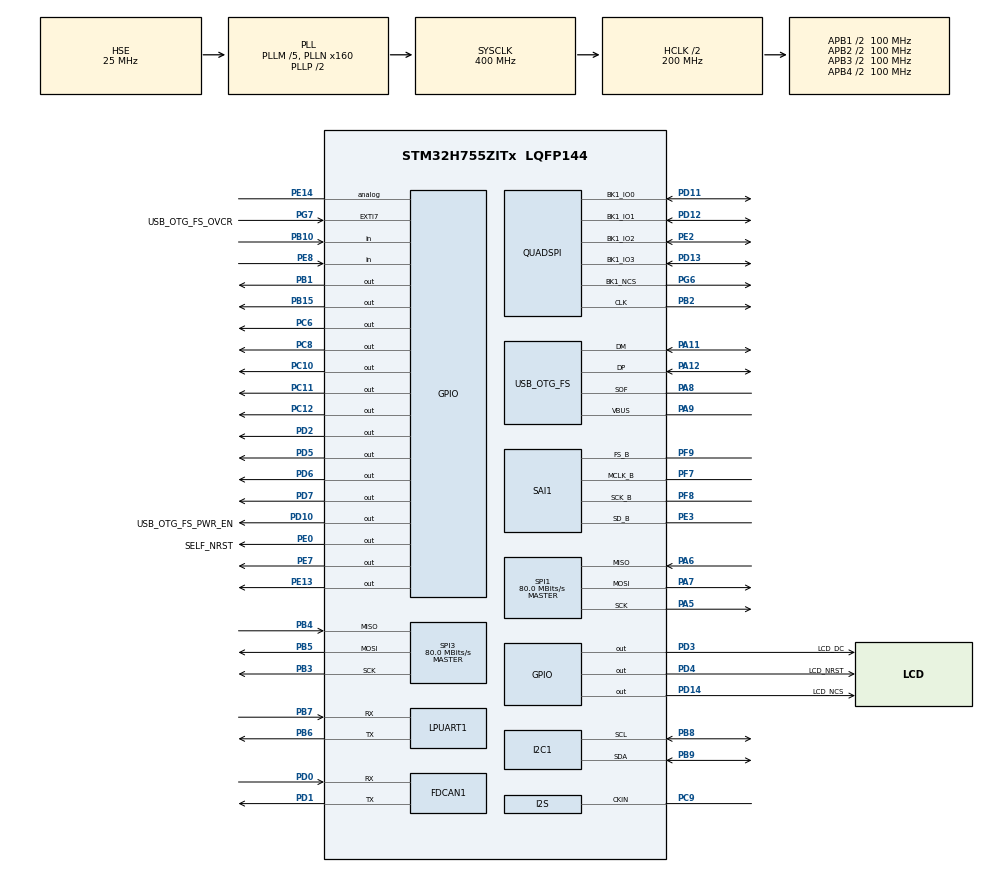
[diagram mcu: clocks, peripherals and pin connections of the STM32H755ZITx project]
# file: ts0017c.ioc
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CortexM4.IPs=FATFS_M4\:I,FREERTOS_M4\:I,IWDG2\:I,RCC,WWDG2\:I,DMA,BDMA,MDMA,NVIC2\:I,USART3,DEBUG,PDM2PCM_M4\:I,PWR,RESMGR_UTILITY,SYS_M4\:I,USB_DEVICE_M4\:I,USB_HOST_M4\:I,CORTEX_M4\:I,GPIO,OPENAMP_M4\:I,VREFBUF,NUCLEO-H755ZI-Q
CortexM7.IPs=FATFS_M7\:I,FREERTOS_M7\:I,IWDG1\:I,RCC\:I,WWDG1\:I,DMA\:I,BDMA\:I,MDMA\:I,NVIC1\:I,USART3\:I,USB_OTG_FS\:I,USB_OTG_FS1\:I,SYS\:I,CORTEX_M7\:I,DEBUG\:I,PDM2PCM_M7\:I,PWR\:I,RESMGR_UTILITY\:I,USB_DEVICE_M7\:I,USB_HOST_M7\:I,GPIO\:I,OPENAMP_M7\:I,VREFBUF\:I,NUCLEO-H755ZI-Q\:I,I2C1\:I,SPI1\:I,SPI3\:I,LPUART1\:I,QUADSPI\:I,SAI1\:I,FDCAN1\:I
CortexM7.Pins=PB1,PE7,PE8,PE13,PE14,PB10,PB15,PD10,PD14,PG7,PC6,PC8,PC10,PC11,PC12,PD2,PD3,PD4,PD5,PD6,PD7,PE0
Dma.Request0=SPI1_TX
Dma.SPI1_TX.0.Direction=DMA_MEMORY_TO_PERIPH
Dma.SPI1_TX.0.EventEnable=DISABLE
Dma.SPI1_TX.0.FIFOMode=DMA_FIFOMODE_DISABLE
Dma.SPI1_TX.0.Instance=DMA1_Stream0
Dma.SPI1_TX.0.MemDataAlignment=DMA_MDATAALIGN_BYTE
Dma.SPI1_TX.0.MemInc=DMA_MINC_ENABLE
Dma.SPI1_TX.0.Mode=DMA_NORMAL
Dma.SPI1_TX.0.PeriphDataAlignment=DMA_PDATAALIGN_BYTE
Dma.SPI1_TX.0.PeriphInc=DMA_PINC_DISABLE
Dma.SPI1_TX.0.Polarity=HAL_DMAMUX_REQ_GEN_RISING
Dma.SPI1_TX.0.Priority=DMA_PRIORITY_HIGH
Dma.SPI1_TX.0.RequestNumber=1
Dma.SPI1_TX.0.SignalID=NONE
Dma.SPI1_TX.0.SyncEnable=DISABLE
Dma.SPI1_TX.0.SyncPolarity=HAL_DMAMUX_SYNC_NO_EVENT
Dma.SPI1_TX.0.SyncRequestNumber=1
Dma.SPI1_TX.0.SyncSignalID=NONE
FDCAN1.CalculateBaudRateNominal=833333
FDCAN1.CalculateTimeBitNominal=1200
FDCAN1.CalculateTimeQuantumNominal=400.0
I2C1.Timing=0x10C0ECFF
Mcu.Family=STM32H7
Mcu.Name=STM32H755ZITx
Mcu.Package=LQFP144
NUCLEO-H755ZI-Q.BUTTON=1
NUCLEO-H755ZI-Q.LD1=true
NUCLEO-H755ZI-Q.LD2=true
NUCLEO-H755ZI-Q.LD3=true
NUCLEO-H755ZI-Q.VCP=true
NVIC1.DMA1_Stream0_IRQn=true\:0\:0\:false\:false\:true\:false\:true\:true
NVIC1.EXTI15_10_IRQn=true\:0\:0\:false\:false\:true\:false\:true\:true
NVIC1.PriorityGroup=NVIC_PRIORITYGROUP_4
NVIC1.SPI1_IRQn=true\:0\:0\:false\:false\:true\:false\:true\:true
NVIC2.PriorityGroup=NVIC_PRIORITYGROUP_4
PA11.Mode=Device_Only
PA11.PinAttribute=CortexM7
PA11.Signal=USB_OTG_FS_DM
PA12.Mode=Device_Only
PA12.PinAttribute=CortexM7
PA12.Signal=USB_OTG_FS_DP
PA13\ (JTMS/SWDIO).Mode=Serial_Wire
PA13\ (JTMS/SWDIO).PinAttribute=CortexM7
PA13\ (JTMS/SWDIO).Signal=DEBUG_JTMS-SWDIO
PA14\ (JTCK/SWCLK).Mode=Serial_Wire
PA14\ (JTCK/SWCLK).PinAttribute=CortexM7
PA14\ (JTCK/SWCLK).Signal=DEBUG_JTCK-SWCLK
PA5.GPIO_Speed=GPIO_SPEED_FREQ_VERY_HIGH
PA5.Mode=Full_Duplex_Master
PA5.PinAttribute=CortexM7
PA5.Signal=SPI1_SCK
PA6.GPIO_Speed=GPIO_SPEED_FREQ_VERY_HIGH
PA6.Mode=Full_Duplex_Master
PA6.PinAttribute=CortexM7
PA6.Signal=SPI1_MISO
PA7.GPIO_Speed=GPIO_SPEED_FREQ_VERY_HIGH
PA7.Mode=Full_Duplex_Master
PA7.PinAttribute=CortexM7
PA7.Signal=SPI1_MOSI
PA8.Mode=Activate_SOF_FS
PA8.PinAttribute=CortexM7
PA8.Signal=USB_OTG_FS_SOF
PA9.Mode=Activate_VBUS
PA9.PinAttribute=CortexM7
PA9.Signal=USB_OTG_FS_VBUS
PB1.PinAttribute=CortexM7
PB1.Signal=GPIO_Output
PB10.PinAttribute=CortexM7
PB10.Signal=GPIO_Input
PB13.PinAttribute=CortexM4
PB13.Signal=ETH_TXD1
PB15.PinAttribute=CortexM7
PB15.Signal=GPIO_Output
PB2.Mode=Single Bank 1
PB2.PinAttribute=CortexM7
PB2.Signal=QUADSPI_CLK
PB3\ (JTDO/TRACESWO).Mode=Full_Duplex_Master
PB3\ (JTDO/TRACESWO).PinAttribute=CortexM7
PB3\ (JTDO/TRACESWO).Signal=SPI3_SCK
PB4\ (NJTRST).Mode=Full_Duplex_Master
PB4\ (NJTRST).PinAttribute=CortexM7
PB4\ (NJTRST).Signal=SPI3_MISO
PB5.Mode=Full_Duplex_Master
PB5.PinAttribute=CortexM7
PB5.Signal=SPI3_MOSI
PB6.Mode=Asynchronous
PB6.PinAttribute=CortexM7
PB6.Signal=LPUART1_TX
PB7.Mode=Asynchronous
PB7.PinAttribute=CortexM7
PB7.Signal=LPUART1_RX
PB8.Mode=I2C
PB8.PinAttribute=CortexM7
PB8.Signal=I2C1_SCL
PB9.Mode=I2C
PB9.PinAttribute=CortexM7
PB9.Signal=I2C1_SDA
PC10.PinAttribute=CortexM7
PC10.Signal=GPIO_Output
PC11.PinAttribute=CortexM7
PC11.Signal=GPIO_Output
PC12.PinAttribute=CortexM7
PC12.Signal=GPIO_Output
PC14-OSC32_IN\ (OSC32_IN).Mode=LSE-External-Oscillator
PC14-OSC32_IN\ (OSC32_IN).PinAttribute=Free
PC14-OSC32_IN\ (OSC32_IN).Signal=RCC_OSC32_IN
PC15-OSC32_OUT\ (OSC32_OUT).Mode=LSE-External-Oscillator
PC15-OSC32_OUT\ (OSC32_OUT).PinAttribute=Free
PC15-OSC32_OUT\ (OSC32_OUT).Signal=RCC_OSC32_OUT
PC6.PinAttribute=CortexM7
PC6.Signal=GPIO_Output
PC8.PinAttribute=CortexM7
PC8.Signal=GPIO_Output
PC9.Mode=Audio_ClockIn
PC9.PinAttribute=Free
PC9.Signal=I2S_CKIN
PD0.Mode=FDCAN_Activate
PD0.PinAttribute=CortexM7
PD0.Signal=FDCAN1_RX
PD1.Mode=FDCAN_Activate
PD1.PinAttribute=CortexM7
PD1.Signal=FDCAN1_TX
PD10.GPIO_Label=USB_OTG_FS_PWR_EN
PD10.PinAttribute=CortexM7
PD10.Signal=GPIO_Output
PD11.Mode=Single Bank 1
PD11.PinAttribute=CortexM7
PD11.Signal=QUADSPI_BK1_IO0
PD12.Mode=Single Bank 1
PD12.PinAttribute=CortexM7
PD12.Signal=QUADSPI_BK1_IO1
PD13.Mode=Single Bank 1
PD13.PinAttribute=CortexM7
PD13.Signal=QUADSPI_BK1_IO3
PD14.GPIO_Label=LCD_NCS
PD14.GPIO_ModeDefaultOutputPP=GPIO_MODE_OUTPUT_PP
PD14.GPIO_PuPd=GPIO_NOPULL
PD14.GPIO_Speed=GPIO_SPEED_FREQ_HIGH
PD14.PinAttribute=CortexM7
PD14.PinState=GPIO_PIN_SET
PD14.Signal=GPIO_Output
PD2.PinAttribute=CortexM7
PD2.Signal=GPIO_Output
PD3.GPIO_Label=LCD_DC
PD3.GPIO_ModeDefaultOutputPP=GPIO_MODE_OUTPUT_PP
PD3.GPIO_Speed=GPIO_SPEED_FREQ_HIGH
PD3.PinAttribute=CortexM7
PD3.Signal=GPIO_Output
PD4.GPIO_Label=LCD_NRST
PD4.GPIO_ModeDefaultOutputPP=GPIO_MODE_OUTPUT_PP
PD4.GPIO_PuPd=GPIO_NOPULL
PD4.GPIO_Speed=GPIO_SPEED_FREQ_HIGH
PD4.PinAttribute=CortexM7
PD4.PinState=GPIO_PIN_SET
PD4.Signal=GPIO_Output
PD5.PinAttribute=CortexM7
PD5.Signal=GPIO_Output
PD6.PinAttribute=CortexM7
PD6.Signal=GPIO_Output
PD7.PinAttribute=CortexM7
PD7.Signal=GPIO_Output
PD8.Signal=USART3_TX
PD9.Signal=USART3_RX
PE0.GPIO_Label=SELF_NRST
PE0.GPIO_ModeDefaultOutputPP=GPIO_MODE_OUTPUT_OD
PE0.GPIO_PuPd=GPIO_NOPULL
PE0.PinAttribute=CortexM7
PE0.PinState=GPIO_PIN_SET
PE0.Signal=GPIO_Output
PE13.PinAttribute=CortexM7
PE13.Signal=GPIO_Output
PE14.PinAttribute=CortexM7
PE14.Signal=GPIO_Analog
PE2.Mode=Single Bank 1
PE2.PinAttribute=CortexM7
PE2.Signal=QUADSPI_BK1_IO2
PE3.Mode=SAI_B_MasterWithClock
PE3.PinAttribute=CortexM7
PE3.Signal=SAI1_SD_B
PE7.PinAttribute=CortexM7
PE7.Signal=GPIO_Output
PE8.PinAttribute=CortexM7
PE8.Signal=GPIO_Input
PF7.Mode=SAI_B_MasterWithClock
PF7.PinAttribute=CortexM7
PF7.Signal=SAI1_MCLK_B
PF8.Mode=SAI_B_MasterWithClock
PF8.PinAttribute=CortexM7
PF8.Signal=SAI1_SCK_B
PF9.Mode=SAI_B_MasterWithClock
PF9.PinAttribute=CortexM7
PF9.Signal=SAI1_FS_B
PG11.PinAttribute=CortexM4
PG11.Signal=ETH_TX_EN
PG13.PinAttribute=CortexM4
PG13.Signal=ETH_TXD0
PG6.Mode=Single Bank 1
PG6.PinAttribute=CortexM7
PG6.Signal=QUADSPI_BK1_NCS
PG7.GPIO_Label=USB_OTG_FS_OVCR
PG7.PinAttribute=CortexM7
PG7.Signal=GPXTI7
PH0-OSC_IN\ (PH0).Mode=HSE-External-Oscillator
PH0-OSC_IN\ (PH0).PinAttribute=Free
PH0-OSC_IN\ (PH0).Signal=RCC_OSC_IN
PH1-OSC_OUT\ (PH1).Mode=HSE-External-Oscillator
PH1-OSC_OUT\ (PH1).PinAttribute=Free
PH1-OSC_OUT\ (PH1).Signal=RCC_OSC_OUT
ProjectManager.HeapSize=M4-0x200,M7-0x200
ProjectManager.StackSize=M4-0x400,M7-0x400
ProjectManager.TargetToolchain=STM32CubeIDE
RCC.ADCFreq_Value=160000000
RCC.APB1Freq_Value=100000000
RCC.APB2Freq_Value=100000000
RCC.APB3Freq_Value=100000000
RCC.APB4Freq_Value=100000000
RCC.CortexFreq_Value=400000000
RCC.D1PPRE=RCC_APB3_DIV2
RCC.D2PPRE1=RCC_APB1_DIV2
RCC.D2PPRE2=RCC_APB2_DIV2
RCC.D3PPRE=RCC_APB4_DIV2
RCC.DIVM1=5
RCC.DIVM2=5
RCC.DIVM3=25
RCC.DIVN1=160
RCC.DIVN2=32
RCC.DIVN3=192
RCC.DIVP2=1
RCC.DIVP3=4
RCC.DIVQ1=20
RCC.DIVQ3=4
RCC.DIVR2=3
RCC.HCLKFreq_Value=200000000
RCC.HPRE=RCC_HCLK_DIV2
RCC.HSE_VALUE=25000000
RCC.PLL2FRACN=0
RCC.PLL3FRACN=0
RCC.PLLFRACN=0
RCC.QSPICLockSelection=RCC_QSPICLKSOURCE_PLL2
RCC.SAI1CLockSelection=RCC_SAI1CLKSOURCE_PIN
RCC.SPI123CLockSelection=RCC_SPI123CLKSOURCE_PLL2
RCC.SYSCLKFreq_VALUE=400000000
RCC.SYSCLKSource=RCC_SYSCLKSOURCE_PLLCLK
RCC.SupplySource=PWR_DIRECT_SMPS_SUPPLY
RCC.USBCLockSelection=RCC_USBCLKSOURCE_PLL3
RCC.USBFreq_Value=48000000
SAI1.ErrorAudioFreq-SAI_B_MasterWithClock=-75.0 %
SAI1.InitProtocol-SAI_B_MasterWithClock=Enable
SAI1.Instance-SAI_B_MasterWithClock=SAI$Index_Block_B
SAI1.MClockEnable-SAI_B_MasterWithClock=SAI_MASTERCLOCK_ENABLE
SAI1.RealAudioFreq-SAI_B_MasterWithClock=48.0 KHz
SAI1.VirtualMode-SAI_B_MasterWithClock=VM_MASTER
SAI1.VirtualProtocol-SAI_B_BASIC=VM_BASIC_PROTOCOL
SPI1.BaudRatePrescaler=SPI_BAUDRATEPRESCALER_2
SPI1.CalculateBaudRate=80.0 MBits/s
SPI1.DataSize=SPI_DATASIZE_8BIT
SPI1.Direction=SPI_DIRECTION_2LINES
SPI1.Mode=SPI_MODE_MASTER
SPI1.VirtualType=VM_MASTER
SPI3.CalculateBaudRate=80.0 MBits/s
SPI3.Direction=SPI_DIRECTION_2LINES
SPI3.Mode=SPI_MODE_MASTER
SPI3.VirtualType=VM_MASTER
USB_OTG_FS.VirtualMode=Device_Only
VP_NUCLEO-H755ZI-Q_VS_BSP_COMMON.Mode=COMMON
VP_SAI1_VP_$IpInstance_SAIB_SAI_BASIC.Mode=SAI_B_BASIC
VP_SYS_M4_VS_Systick.Mode=SysTick
board=NUCLEO-H755ZI-Q

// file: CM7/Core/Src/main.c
/* USER CODE BEGIN Header */
/**
  ******************************************************************************
  * @file           : main.c
  * @brief          : Main program body
  ******************************************************************************
  * @attention
  *
  * Copyright (c) 2026 STMicroelectronics.
  * All rights reserved.
  *
  * This software is licensed under terms that can be found in the LICENSE file
  * in the root directory of this software component.
  * If no LICENSE file comes with this software, it is provided AS-IS.
  *
  ******************************************************************************
  */
/* USER CODE END Header */
#include "main.h"

/* USER CODE BEGIN Includes */
#include "st7789.h"
/* USER CODE END Includes */

/* USER CODE BEGIN PD */

/* DUAL_CORE_BOOT_SYNC_SEQUENCE: Define for dual core boot synchronization    */
/*                             demonstration code based on hardware semaphore */
/* This define is present in both CM7/CM4 projects                            */
/* To comment when developping/debugging on a single core                     */
#define DUAL_CORE_BOOT_SYNC_SEQUENCE

#if defined(DUAL_CORE_BOOT_SYNC_SEQUENCE)
#ifndef HSEM_ID_0
#define HSEM_ID_0 (0U) /* HW semaphore 0*/
#endif
#endif /* DUAL_CORE_BOOT_SYNC_SEQUENCE */

/* USER CODE END PD */

COM_InitTypeDef BspCOMInit;

FDCAN_HandleTypeDef hfdcan1;

I2C_HandleTypeDef hi2c1;

UART_HandleTypeDef hlpuart1;

QSPI_HandleTypeDef hqspi;

SAI_HandleTypeDef hsai_BlockB1;

SPI_HandleTypeDef hspi1;
SPI_HandleTypeDef hspi3;
DMA_HandleTypeDef hdma_spi1_tx;

PCD_HandleTypeDef hpcd_USB_OTG_FS;

void SystemClock_Config(void);
void PeriphCommonClock_Config(void);
static void MX_GPIO_Init(void);
static void MX_DMA_Init(void);
static void MX_FDCAN1_Init(void);
static void MX_I2C1_Init(void);
static void MX_LPUART1_UART_Init(void);
static void MX_QUADSPI_Init(void);
static void MX_SAI1_Init(void);
static void MX_SPI1_Init(void);
static void MX_SPI3_Init(void);
static void MX_USB_OTG_FS_PCD_Init(void);

int main(void)
{

/* USER CODE BEGIN Boot_Mode_Sequence_0 */
#if defined(DUAL_CORE_BOOT_SYNC_SEQUENCE)
  int32_t timeout;
#endif /* DUAL_CORE_BOOT_SYNC_SEQUENCE */
/* USER CODE END Boot_Mode_Sequence_0 */

/* USER CODE BEGIN Boot_Mode_Sequence_1 */
#if defined(DUAL_CORE_BOOT_SYNC_SEQUENCE)
  /* Wait until CPU2 boots and enters in stop mode or timeout*/
  timeout = 0xFFFF;
  while((__HAL_RCC_GET_FLAG(RCC_FLAG_D2CKRDY) != RESET) && (timeout-- > 0));
  if ( timeout < 0 )
  {
  Error_Handler();
  }
#endif /* DUAL_CORE_BOOT_SYNC_SEQUENCE */
/* USER CODE END Boot_Mode_Sequence_1 */
  /* MCU Configuration--------------------------------------------------------*/

  /* Reset of all peripherals, Initializes the Flash interface and the Systick. */
  HAL_Init();

  /* Configure the system clock */
  SystemClock_Config();

  /* Configure the peripherals common clocks */
  PeriphCommonClock_Config();
/* USER CODE BEGIN Boot_Mode_Sequence_2 */
#if defined(DUAL_CORE_BOOT_SYNC_SEQUENCE)
/* When system initialization is finished, Cortex-M7 will release Cortex-M4 by means of
HSEM notification */
/*HW semaphore Clock enable*/
__HAL_RCC_HSEM_CLK_ENABLE();
/*Take HSEM */
HAL_HSEM_FastTake(HSEM_ID_0);
/*Release HSEM in order to notify the CPU2(CM4)*/
HAL_HSEM_Release(HSEM_ID_0,0);
/* wait until CPU2 wakes up from stop mode */
timeout = 0xFFFF;
while((__HAL_RCC_GET_FLAG(RCC_FLAG_D2CKRDY) == RESET) && (timeout-- > 0));
if ( timeout < 0 )
{
Error_Handler();
}
#endif /* DUAL_CORE_BOOT_SYNC_SEQUENCE */
/* USER CODE END Boot_Mode_Sequence_2 */

  /* Initialize all configured peripherals */
  MX_GPIO_Init();
  MX_DMA_Init();
  MX_FDCAN1_Init();
  MX_I2C1_Init();
  MX_LPUART1_UART_Init();
  MX_QUADSPI_Init();
  MX_SAI1_Init();
  MX_SPI1_Init();
  MX_SPI3_Init();
  MX_USB_OTG_FS_PCD_Init();
  /* USER CODE BEGIN 2 */

  GPIO_PinState pin = GPIO_PIN_SET;
  HAL_GPIO_WritePin(GPIOB, GPIO_PIN_0, pin);
  HAL_GPIO_WritePin(GPIOC, GPIO_PIN_10, pin);
  HAL_GPIO_WritePin(GPIOC, GPIO_PIN_11, pin);
  HAL_GPIO_WritePin(GPIOC, GPIO_PIN_12, pin);
  HAL_GPIO_WritePin(GPIOD, GPIO_PIN_2, pin);

  /*
   * LCD initialization
   */
  ST7789_Init();

  /*
   * Red
   */
  ST7789_FillScreen(ST7789_RED);
//  HAL_Delay(1000);

  /*
   * Green
   */
  ST7789_FillScreen(ST7789_GREEN);
//  HAL_Delay(1000);

  /*
   * Blue
   */
  ST7789_FillScreen(ST7789_BLUE);
//  HAL_Delay(1000);

  /*
   * Black
   */
  ST7789_FillScreen(ST7789_BLACK);

  /*
   * Draw some rectangles
   */
  ST7789_FillRect(
      10, 10,
      100, 50,
      ST7789_RED
  );

  ST7789_FillRect(
      110, 70,
      100, 50,
      ST7789_GREEN
  );

  ST7789_FillRect(
      50, 140,
      220, 50,
      ST7789_BLUE
  );

  HAL_Delay(1000);

  // DMA
  ST7789_FillScreen(ST7789_RED);
  ST7789_FillScreen(ST7789_GREEN);
  ST7789_FillScreen(ST7789_BLUE);
  ST7789_FillScreen(ST7789_BLACK);

  ST7789_FillRectDMA(
      10, 10,
      100, 50,
      ST7789_RED
  );

  ST7789_FillRectDMA(
      110, 70,
      100, 50,
      ST7789_GREEN
  );

  ST7789_FillRectDMA(
      50, 140,
      220, 50,
      ST7789_BLUE
  );

  /* USER CODE END 2 */

  /* Initialize leds */
  BSP_LED_Init(LED_GREEN);
  BSP_LED_Init(LED_YELLOW);
  BSP_LED_Init(LED_RED);

  /* Initialize USER push-button, will be used to trigger an interrupt each time it's pressed.*/
  BSP_PB_Init(BUTTON_USER, BUTTON_MODE_EXTI);

  /* Initialize COM1 port (115200, 8 bits (7-bit data + 1 stop bit), no parity */
  BspCOMInit.BaudRate   = 115200;
  BspCOMInit.WordLength = COM_WORDLENGTH_8B;
  BspCOMInit.StopBits   = COM_STOPBITS_1;
  BspCOMInit.Parity     = COM_PARITY_NONE;
  BspCOMInit.HwFlowCtl  = COM_HWCONTROL_NONE;
  if (BSP_COM_Init(COM1, &BspCOMInit) != BSP_ERROR_NONE)
  {
    Error_Handler();
  }

  /* Infinite loop */
  /* USER CODE BEGIN WHILE */
  while (1)
  {
    pin ^= 1;
    HAL_GPIO_WritePin(GPIOB, GPIO_PIN_0, pin);
    HAL_GPIO_WritePin(GPIOC, GPIO_PIN_10, pin);
    HAL_GPIO_WritePin(GPIOC, GPIO_PIN_11, pin);
    HAL_GPIO_WritePin(GPIOC, GPIO_PIN_12, pin);
    HAL_GPIO_WritePin(GPIOD, GPIO_PIN_2, pin);
    HAL_Delay(500);
    /* USER CODE END WHILE */

  }
}

void SystemClock_Config(void)
{
  RCC_OscInitTypeDef RCC_OscInitStruct = {0};
  RCC_ClkInitTypeDef RCC_ClkInitStruct = {0};

  /** Supply configuration update enable
  */
  HAL_PWREx_ConfigSupply(PWR_DIRECT_SMPS_SUPPLY);

  /** Configure the main internal regulator output voltage
  */
  __HAL_PWR_VOLTAGESCALING_CONFIG(PWR_REGULATOR_VOLTAGE_SCALE1);

  while(!__HAL_PWR_GET_FLAG(PWR_FLAG_VOSRDY)) {}

  /** Initializes the RCC Oscillators according to the specified parameters
  * in the RCC_OscInitTypeDef structure.
  */
  RCC_OscInitStruct.OscillatorType = RCC_OSCILLATORTYPE_HSE;
  RCC_OscInitStruct.HSEState = RCC_HSE_ON;
  RCC_OscInitStruct.PLL.PLLState = RCC_PLL_ON;
  RCC_OscInitStruct.PLL.PLLSource = RCC_PLLSOURCE_HSE;
  RCC_OscInitStruct.PLL.PLLM = 5;
  RCC_OscInitStruct.PLL.PLLN = 160;
  RCC_OscInitStruct.PLL.PLLP = 2;
  RCC_OscInitStruct.PLL.PLLQ = 20;
  RCC_OscInitStruct.PLL.PLLR = 2;
  RCC_OscInitStruct.PLL.PLLRGE = RCC_PLL1VCIRANGE_2;
  RCC_OscInitStruct.PLL.PLLVCOSEL = RCC_PLL1VCOWIDE;
  RCC_OscInitStruct.PLL.PLLFRACN = 0;
  if (HAL_RCC_OscConfig(&RCC_OscInitStruct) != HAL_OK)
  {
    Error_Handler();
  }

  /** Initializes the CPU, AHB and APB buses clocks
  */
  RCC_ClkInitStruct.ClockType = RCC_CLOCKTYPE_HCLK|RCC_CLOCKTYPE_SYSCLK
                              |RCC_CLOCKTYPE_PCLK1|RCC_CLOCKTYPE_PCLK2
                              |RCC_CLOCKTYPE_D3PCLK1|RCC_CLOCKTYPE_D1PCLK1;
  RCC_ClkInitStruct.SYSCLKSource = RCC_SYSCLKSOURCE_PLLCLK;
  RCC_ClkInitStruct.SYSCLKDivider = RCC_SYSCLK_DIV1;
  RCC_ClkInitStruct.AHBCLKDivider = RCC_HCLK_DIV2;
  RCC_ClkInitStruct.APB3CLKDivider = RCC_APB3_DIV2;
  RCC_ClkInitStruct.APB1CLKDivider = RCC_APB1_DIV2;
  RCC_ClkInitStruct.APB2CLKDivider = RCC_APB2_DIV2;
  RCC_ClkInitStruct.APB4CLKDivider = RCC_APB4_DIV2;

  if (HAL_RCC_ClockConfig(&RCC_ClkInitStruct, FLASH_LATENCY_2) != HAL_OK)
  {
    Error_Handler();
  }
}

void PeriphCommonClock_Config(void)
{
  RCC_PeriphCLKInitTypeDef PeriphClkInitStruct = {0};

  /** Initializes the peripherals clock
  */
  PeriphClkInitStruct.PeriphClockSelection = RCC_PERIPHCLK_QSPI|RCC_PERIPHCLK_SPI3
                              |RCC_PERIPHCLK_SPI1;
  PeriphClkInitStruct.PLL2.PLL2M = 5;
  PeriphClkInitStruct.PLL2.PLL2N = 32;
  PeriphClkInitStruct.PLL2.PLL2P = 1;
  PeriphClkInitStruct.PLL2.PLL2Q = 2;
  PeriphClkInitStruct.PLL2.PLL2R = 3;
  PeriphClkInitStruct.PLL2.PLL2RGE = RCC_PLL2VCIRANGE_2;
  PeriphClkInitStruct.PLL2.PLL2VCOSEL = RCC_PLL2VCOMEDIUM;
  PeriphClkInitStruct.PLL2.PLL2FRACN = 0;
  PeriphClkInitStruct.QspiClockSelection = RCC_QSPICLKSOURCE_PLL2;
  PeriphClkInitStruct.Spi123ClockSelection = RCC_SPI123CLKSOURCE_PLL2;
  if (HAL_RCCEx_PeriphCLKConfig(&PeriphClkInitStruct) != HAL_OK)
  {
    Error_Handler();
  }
}

static void MX_FDCAN1_Init(void)
{

  hfdcan1.Instance = FDCAN1;
  hfdcan1.Init.FrameFormat = FDCAN_FRAME_CLASSIC;
  hfdcan1.Init.Mode = FDCAN_MODE_NORMAL;
  hfdcan1.Init.AutoRetransmission = DISABLE;
  hfdcan1.Init.TransmitPause = DISABLE;
  hfdcan1.Init.ProtocolException = DISABLE;
  hfdcan1.Init.NominalPrescaler = 16;
  hfdcan1.Init.NominalSyncJumpWidth = 1;
  hfdcan1.Init.NominalTimeSeg1 = 1;
  hfdcan1.Init.NominalTimeSeg2 = 1;
  hfdcan1.Init.DataPrescaler = 1;
  hfdcan1.Init.DataSyncJumpWidth = 1;
  hfdcan1.Init.DataTimeSeg1 = 1;
  hfdcan1.Init.DataTimeSeg2 = 1;
  hfdcan1.Init.MessageRAMOffset = 0;
  hfdcan1.Init.StdFiltersNbr = 0;
  hfdcan1.Init.ExtFiltersNbr = 0;
  hfdcan1.Init.RxFifo0ElmtsNbr = 0;
  hfdcan1.Init.RxFifo0ElmtSize = FDCAN_DATA_BYTES_8;
  hfdcan1.Init.RxFifo1ElmtsNbr = 0;
  hfdcan1.Init.RxFifo1ElmtSize = FDCAN_DATA_BYTES_8;
  hfdcan1.Init.RxBuffersNbr = 0;
  hfdcan1.Init.RxBufferSize = FDCAN_DATA_BYTES_8;
  hfdcan1.Init.TxEventsNbr = 0;
  hfdcan1.Init.TxBuffersNbr = 0;
  hfdcan1.Init.TxFifoQueueElmtsNbr = 0;
  hfdcan1.Init.TxFifoQueueMode = FDCAN_TX_FIFO_OPERATION;
  hfdcan1.Init.TxElmtSize = FDCAN_DATA_BYTES_8;
  if (HAL_FDCAN_Init(&hfdcan1) != HAL_OK)
  {
    Error_Handler();
  }

}

static void MX_I2C1_Init(void)
{

  hi2c1.Instance = I2C1;
  hi2c1.Init.Timing = 0x10C0ECFF;
  hi2c1.Init.OwnAddress1 = 0;
  hi2c1.Init.AddressingMode = I2C_ADDRESSINGMODE_7BIT;
  hi2c1.Init.DualAddressMode = I2C_DUALADDRESS_DISABLE;
  hi2c1.Init.OwnAddress2 = 0;
  hi2c1.Init.OwnAddress2Masks = I2C_OA2_NOMASK;
  hi2c1.Init.GeneralCallMode = I2C_GENERALCALL_DISABLE;
  hi2c1.Init.NoStretchMode = I2C_NOSTRETCH_DISABLE;
  if (HAL_I2C_Init(&hi2c1) != HAL_OK)
  {
    Error_Handler();
  }

  /** Configure Analogue filter
  */
  if (HAL_I2CEx_ConfigAnalogFilter(&hi2c1, I2C_ANALOGFILTER_ENABLE) != HAL_OK)
  {
    Error_Handler();
  }

  /** Configure Digital filter
  */
  if (HAL_I2CEx_ConfigDigitalFilter(&hi2c1, 0) != HAL_OK)
  {
    Error_Handler();
  }

}

static void MX_LPUART1_UART_Init(void)
{

  hlpuart1.Instance = LPUART1;
  hlpuart1.Init.BaudRate = 209700;
  hlpuart1.Init.WordLength = UART_WORDLENGTH_8B;
  hlpuart1.Init.StopBits = UART_STOPBITS_1;
  hlpuart1.Init.Parity = UART_PARITY_NONE;
  hlpuart1.Init.Mode = UART_MODE_TX_RX;
  hlpuart1.Init.HwFlowCtl = UART_HWCONTROL_NONE;
  hlpuart1.Init.OneBitSampling = UART_ONE_BIT_SAMPLE_DISABLE;
  hlpuart1.Init.ClockPrescaler = UART_PRESCALER_DIV1;
  hlpuart1.AdvancedInit.AdvFeatureInit = UART_ADVFEATURE_NO_INIT;
  hlpuart1.FifoMode = UART_FIFOMODE_DISABLE;
  if (HAL_UART_Init(&hlpuart1) != HAL_OK)
  {
    Error_Handler();
  }
  if (HAL_UARTEx_SetTxFifoThreshold(&hlpuart1, UART_TXFIFO_THRESHOLD_1_8) != HAL_OK)
  {
    Error_Handler();
  }
  if (HAL_UARTEx_SetRxFifoThreshold(&hlpuart1, UART_RXFIFO_THRESHOLD_1_8) != HAL_OK)
  {
    Error_Handler();
  }
  if (HAL_UARTEx_DisableFifoMode(&hlpuart1) != HAL_OK)
  {
    Error_Handler();
  }

}

static void MX_QUADSPI_Init(void)
{

  /* QUADSPI parameter configuration*/
  hqspi.Instance = QUADSPI;
  hqspi.Init.ClockPrescaler = 255;
  hqspi.Init.FifoThreshold = 1;
  hqspi.Init.SampleShifting = QSPI_SAMPLE_SHIFTING_NONE;
  hqspi.Init.FlashSize = 1;
  hqspi.Init.ChipSelectHighTime = QSPI_CS_HIGH_TIME_1_CYCLE;
  hqspi.Init.ClockMode = QSPI_CLOCK_MODE_0;
  hqspi.Init.FlashID = QSPI_FLASH_ID_1;
  hqspi.Init.DualFlash = QSPI_DUALFLASH_DISABLE;
  if (HAL_QSPI_Init(&hqspi) != HAL_OK)
  {
    Error_Handler();
  }

}

static void MX_SAI1_Init(void)
{

  hsai_BlockB1.Instance = SAI1_Block_B;
  hsai_BlockB1.Init.AudioMode = SAI_MODEMASTER_TX;
  hsai_BlockB1.Init.Synchro = SAI_ASYNCHRONOUS;
  hsai_BlockB1.Init.OutputDrive = SAI_OUTPUTDRIVE_DISABLE;
  hsai_BlockB1.Init.NoDivider = SAI_MASTERDIVIDER_ENABLE;
  hsai_BlockB1.Init.MckOverSampling = SAI_MCK_OVERSAMPLING_DISABLE;
  hsai_BlockB1.Init.FIFOThreshold = SAI_FIFOTHRESHOLD_EMPTY;
  hsai_BlockB1.Init.AudioFrequency = SAI_AUDIO_FREQUENCY_192K;
  hsai_BlockB1.Init.SynchroExt = SAI_SYNCEXT_DISABLE;
  hsai_BlockB1.Init.MonoStereoMode = SAI_STEREOMODE;
  hsai_BlockB1.Init.CompandingMode = SAI_NOCOMPANDING;
  hsai_BlockB1.Init.TriState = SAI_OUTPUT_NOTRELEASED;
  if (HAL_SAI_InitProtocol(&hsai_BlockB1, SAI_I2S_STANDARD, SAI_PROTOCOL_DATASIZE_16BIT, 2) != HAL_OK)
  {
    Error_Handler();
  }

}

static void MX_SPI1_Init(void)
{

  /* SPI1 parameter configuration*/
  hspi1.Instance = SPI1;
  hspi1.Init.Mode = SPI_MODE_MASTER;
  hspi1.Init.Direction = SPI_DIRECTION_2LINES;
  hspi1.Init.DataSize = SPI_DATASIZE_8BIT;
  hspi1.Init.CLKPolarity = SPI_POLARITY_LOW;
  hspi1.Init.CLKPhase = SPI_PHASE_1EDGE;
  hspi1.Init.NSS = SPI_NSS_SOFT;
  hspi1.Init.BaudRatePrescaler = SPI_BAUDRATEPRESCALER_2;
  hspi1.Init.FirstBit = SPI_FIRSTBIT_MSB;
  hspi1.Init.TIMode = SPI_TIMODE_DISABLE;
  hspi1.Init.CRCCalculation = SPI_CRCCALCULATION_DISABLE;
  hspi1.Init.CRCPolynomial = 0x0;
  hspi1.Init.NSSPMode = SPI_NSS_PULSE_ENABLE;
  hspi1.Init.NSSPolarity = SPI_NSS_POLARITY_LOW;
  hspi1.Init.FifoThreshold = SPI_FIFO_THRESHOLD_01DATA;
  hspi1.Init.TxCRCInitializationPattern = SPI_CRC_INITIALIZATION_ALL_ZERO_PATTERN;
  hspi1.Init.RxCRCInitializationPattern = SPI_CRC_INITIALIZATION_ALL_ZERO_PATTERN;
  hspi1.Init.MasterSSIdleness = SPI_MASTER_SS_IDLENESS_00CYCLE;
  hspi1.Init.MasterInterDataIdleness = SPI_MASTER_INTERDATA_IDLENESS_00CYCLE;
  hspi1.Init.MasterReceiverAutoSusp = SPI_MASTER_RX_AUTOSUSP_DISABLE;
  hspi1.Init.MasterKeepIOState = SPI_MASTER_KEEP_IO_STATE_DISABLE;
  hspi1.Init.IOSwap = SPI_IO_SWAP_DISABLE;
  if (HAL_SPI_Init(&hspi1) != HAL_OK)
  {
    Error_Handler();
  }

}

static void MX_SPI3_Init(void)
{

  /* SPI3 parameter configuration*/
  hspi3.Instance = SPI3;
  hspi3.Init.Mode = SPI_MODE_MASTER;
  hspi3.Init.Direction = SPI_DIRECTION_2LINES;
  hspi3.Init.DataSize = SPI_DATASIZE_4BIT;
  hspi3.Init.CLKPolarity = SPI_POLARITY_LOW;
  hspi3.Init.CLKPhase = SPI_PHASE_1EDGE;
  hspi3.Init.NSS = SPI_NSS_SOFT;
  hspi3.Init.BaudRatePrescaler = SPI_BAUDRATEPRESCALER_2;
  hspi3.Init.FirstBit = SPI_FIRSTBIT_MSB;
  hspi3.Init.TIMode = SPI_TIMODE_DISABLE;
  hspi3.Init.CRCCalculation = SPI_CRCCALCULATION_DISABLE;
  hspi3.Init.CRCPolynomial = 0x0;
  hspi3.Init.NSSPMode = SPI_NSS_PULSE_ENABLE;
  hspi3.Init.NSSPolarity = SPI_NSS_POLARITY_LOW;
  hspi3.Init.FifoThreshold = SPI_FIFO_THRESHOLD_01DATA;
  hspi3.Init.TxCRCInitializationPattern = SPI_CRC_INITIALIZATION_ALL_ZERO_PATTERN;
  hspi3.Init.RxCRCInitializationPattern = SPI_CRC_INITIALIZATION_ALL_ZERO_PATTERN;
  hspi3.Init.MasterSSIdleness = SPI_MASTER_SS_IDLENESS_00CYCLE;
  hspi3.Init.MasterInterDataIdleness = SPI_MASTER_INTERDATA_IDLENESS_00CYCLE;
  hspi3.Init.MasterReceiverAutoSusp = SPI_MASTER_RX_AUTOSUSP_DISABLE;
  hspi3.Init.MasterKeepIOState = SPI_MASTER_KEEP_IO_STATE_DISABLE;
  hspi3.Init.IOSwap = SPI_IO_SWAP_DISABLE;
  if (HAL_SPI_Init(&hspi3) != HAL_OK)
  {
    Error_Handler();
  }

}

static void MX_USB_OTG_FS_PCD_Init(void)
{

  hpcd_USB_OTG_FS.Instance = USB_OTG_FS;
  hpcd_USB_OTG_FS.Init.dev_endpoints = 9;
  hpcd_USB_OTG_FS.Init.speed = PCD_SPEED_FULL;
  hpcd_USB_OTG_FS.Init.dma_enable = DISABLE;
  hpcd_USB_OTG_FS.Init.phy_itface = PCD_PHY_EMBEDDED;
  hpcd_USB_OTG_FS.Init.Sof_enable = ENABLE;
  hpcd_USB_OTG_FS.Init.low_power_enable = DISABLE;
  hpcd_USB_OTG_FS.Init.lpm_enable = DISABLE;
  hpcd_USB_OTG_FS.Init.battery_charging_enable = ENABLE;
  hpcd_USB_OTG_FS.Init.vbus_sensing_enable = ENABLE;
  hpcd_USB_OTG_FS.Init.use_dedicated_ep1 = DISABLE;
  if (HAL_PCD_Init(&hpcd_USB_OTG_FS) != HAL_OK)
  {
    Error_Handler();
  }

}

static void MX_DMA_Init(void)
{

  /* DMA controller clock enable */
  __HAL_RCC_DMA1_CLK_ENABLE();

  /* DMA interrupt init */
  /* DMA1_Stream0_IRQn interrupt configuration */
  HAL_NVIC_SetPriority(DMA1_Stream0_IRQn, 0, 0);
  HAL_NVIC_EnableIRQ(DMA1_Stream0_IRQn);

}

static void MX_GPIO_Init(void)
{
  GPIO_InitTypeDef GPIO_InitStruct = {0};

  /* GPIO Ports Clock Enable */
  __HAL_RCC_GPIOE_CLK_ENABLE();
  __HAL_RCC_GPIOF_CLK_ENABLE();
  __HAL_RCC_GPIOA_CLK_ENABLE();
  __HAL_RCC_GPIOB_CLK_ENABLE();
  __HAL_RCC_GPIOD_CLK_ENABLE();
  __HAL_RCC_GPIOG_CLK_ENABLE();
  __HAL_RCC_GPIOC_CLK_ENABLE();

  /*Configure GPIO pin Output Level */
  HAL_GPIO_WritePin(GPIOB, GPIO_PIN_1|GPIO_PIN_15, GPIO_PIN_RESET);

  /*Configure GPIO pin Output Level */
  HAL_GPIO_WritePin(GPIOE, GPIO_PIN_7|GPIO_PIN_13, GPIO_PIN_RESET);

  /*Configure GPIO pin Output Level */
  HAL_GPIO_WritePin(GPIOD, USB_OTG_FS_PWR_EN_Pin|GPIO_PIN_2|LCD_DC_Pin|GPIO_PIN_5
                          |GPIO_PIN_6|GPIO_PIN_7, GPIO_PIN_RESET);

  /*Configure GPIO pin Output Level */
  HAL_GPIO_WritePin(GPIOD, LCD_NCS_Pin|LCD_NRST_Pin, GPIO_PIN_SET);

  /*Configure GPIO pin Output Level */
  HAL_GPIO_WritePin(GPIOC, GPIO_PIN_6|GPIO_PIN_8|GPIO_PIN_10|GPIO_PIN_11
                          |GPIO_PIN_12, GPIO_PIN_RESET);

  /*Configure GPIO pin Output Level */
  HAL_GPIO_WritePin(SELF_NRST_GPIO_Port, SELF_NRST_Pin, GPIO_PIN_SET);

  /*Configure GPIO pins : PB1 PB15 */
  GPIO_InitStruct.Pin = GPIO_PIN_1|GPIO_PIN_15;
  GPIO_InitStruct.Mode = GPIO_MODE_OUTPUT_PP;
  GPIO_InitStruct.Pull = GPIO_NOPULL;
  GPIO_InitStruct.Speed = GPIO_SPEED_FREQ_LOW;
  HAL_GPIO_Init(GPIOB, &GPIO_InitStruct);

  /*Configure GPIO pins : PE7 PE13 */
  GPIO_InitStruct.Pin = GPIO_PIN_7|GPIO_PIN_13;
  GPIO_InitStruct.Mode = GPIO_MODE_OUTPUT_PP;
  GPIO_InitStruct.Pull = GPIO_NOPULL;
  GPIO_InitStruct.Speed = GPIO_SPEED_FREQ_LOW;
  HAL_GPIO_Init(GPIOE, &GPIO_InitStruct);

  /*Configure GPIO pin : PE8 */
  GPIO_InitStruct.Pin = GPIO_PIN_8;
  GPIO_InitStruct.Mode = GPIO_MODE_INPUT;
  GPIO_InitStruct.Pull = GPIO_NOPULL;
  HAL_GPIO_Init(GPIOE, &GPIO_InitStruct);

  /*Configure GPIO pin : PE14 */
  GPIO_InitStruct.Pin = GPIO_PIN_14;
  GPIO_InitStruct.Mode = GPIO_MODE_ANALOG;
  GPIO_InitStruct.Pull = GPIO_NOPULL;
  HAL_GPIO_Init(GPIOE, &GPIO_InitStruct);

  /*Configure GPIO pin : PB10 */
  GPIO_InitStruct.Pin = GPIO_PIN_10;
  GPIO_InitStruct.Mode = GPIO_MODE_INPUT;
  GPIO_InitStruct.Pull = GPIO_NOPULL;
  HAL_GPIO_Init(GPIOB, &GPIO_InitStruct);

  /*Configure GPIO pins : USB_OTG_FS_PWR_EN_Pin PD2 PD5 PD6
                           PD7 */
  GPIO_InitStruct.Pin = USB_OTG_FS_PWR_EN_Pin|GPIO_PIN_2|GPIO_PIN_5|GPIO_PIN_6
                          |GPIO_PIN_7;
  GPIO_InitStruct.Mode = GPIO_MODE_OUTPUT_PP;
  GPIO_InitStruct.Pull = GPIO_NOPULL;
  GPIO_InitStruct.Speed = GPIO_SPEED_FREQ_LOW;
  HAL_GPIO_Init(GPIOD, &GPIO_InitStruct);

  /*Configure GPIO pins : LCD_NCS_Pin LCD_DC_Pin LCD_NRST_Pin */
  GPIO_InitStruct.Pin = LCD_NCS_Pin|LCD_DC_Pin|LCD_NRST_Pin;
  GPIO_InitStruct.Mode = GPIO_MODE_OUTPUT_PP;
  GPIO_InitStruct.Pull = GPIO_NOPULL;
  GPIO_InitStruct.Speed = GPIO_SPEED_FREQ_HIGH;
  HAL_GPIO_Init(GPIOD, &GPIO_InitStruct);

  /*Configure GPIO pin : USB_OTG_FS_OVCR_Pin */
  GPIO_InitStruct.Pin = USB_OTG_FS_OVCR_Pin;
  GPIO_InitStruct.Mode = GPIO_MODE_IT_RISING;
  GPIO_InitStruct.Pull = GPIO_NOPULL;
  HAL_GPIO_Init(USB_OTG_FS_OVCR_GPIO_Port, &GPIO_InitStruct);

  /*Configure GPIO pins : PC6 PC8 PC10 PC11
                           PC12 */
  GPIO_InitStruct.Pin = GPIO_PIN_6|GPIO_PIN_8|GPIO_PIN_10|GPIO_PIN_11
                          |GPIO_PIN_12;
  GPIO_InitStruct.Mode = GPIO_MODE_OUTPUT_PP;
  GPIO_InitStruct.Pull = GPIO_NOPULL;
  GPIO_InitStruct.Speed = GPIO_SPEED_FREQ_LOW;
  HAL_GPIO_Init(GPIOC, &GPIO_InitStruct);

  /*Configure GPIO pin : SELF_NRST_Pin */
  GPIO_InitStruct.Pin = SELF_NRST_Pin;
  GPIO_InitStruct.Mode = GPIO_MODE_OUTPUT_OD;
  GPIO_InitStruct.Pull = GPIO_NOPULL;
  GPIO_InitStruct.Speed = GPIO_SPEED_FREQ_LOW;
  HAL_GPIO_Init(SELF_NRST_GPIO_Port, &GPIO_InitStruct);

}

void Error_Handler(void)
{
  __disable_irq();
  while (1)
  {
  }
}
